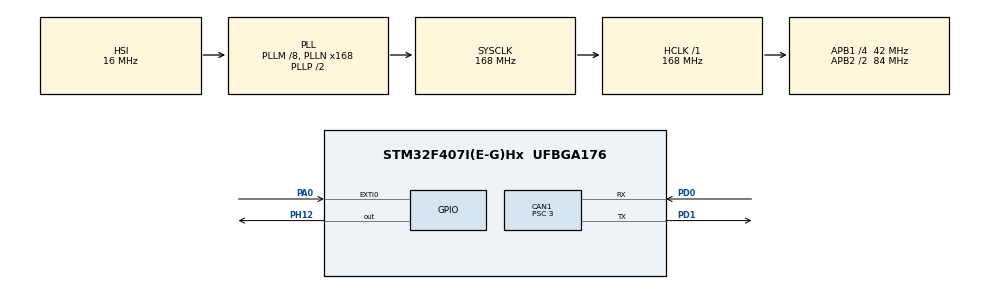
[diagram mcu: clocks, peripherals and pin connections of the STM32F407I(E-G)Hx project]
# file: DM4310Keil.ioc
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CAN1.BS1=CAN_BS1_10TQ
CAN1.BS2=CAN_BS2_3TQ
CAN1.CalculateBaudRate=1000000
CAN1.CalculateTimeBit=1000
CAN1.CalculateTimeQuantum=71.42857142857143
CAN1.Prescaler=3
Mcu.Family=STM32F4
Mcu.Name=STM32F407I(E-G)Hx
Mcu.Package=UFBGA176
NVIC.CAN1_RX0_IRQn=true\:0\:0\:false\:false\:true\:true\:true\:true
NVIC.CAN1_RX1_IRQn=true\:0\:0\:false\:false\:true\:true\:true\:true
NVIC.CAN1_SCE_IRQn=true\:0\:0\:false\:false\:true\:true\:true\:true
NVIC.CAN1_TX_IRQn=true\:0\:0\:false\:false\:true\:true\:true\:true
NVIC.EXTI0_IRQn=true\:0\:0\:false\:false\:true\:true\:true\:true
NVIC.PriorityGroup=NVIC_PRIORITYGROUP_4
PA0-WKUP.Signal=GPXTI0
PA13.Mode=Serial_Wire
PA13.Signal=SYS_JTMS-SWDIO
PA14.Mode=Serial_Wire
PA14.Signal=SYS_JTCK-SWCLK
PC14-OSC32_IN.Mode=LSE-External-Oscillator
PC14-OSC32_IN.Signal=RCC_OSC32_IN
PC15-OSC32_OUT.Mode=LSE-External-Oscillator
PC15-OSC32_OUT.Signal=RCC_OSC32_OUT
PD0.Mode=CAN_Activate
PD0.Signal=CAN1_RX
PD1.Mode=CAN_Activate
PD1.Signal=CAN1_TX
PH0-OSC_IN.Mode=HSE-External-Oscillator
PH0-OSC_IN.Signal=RCC_OSC_IN
PH1-OSC_OUT.Mode=HSE-External-Oscillator
PH1-OSC_OUT.Signal=RCC_OSC_OUT
PH12.Signal=GPIO_Output
ProjectManager.HeapSize=0x200
ProjectManager.StackSize=0x400
ProjectManager.TargetToolchain=MDK-ARM V5.32
RCC.48MHZClocksFreq_Value=84000000
RCC.AHBFreq_Value=168000000
RCC.APB1CLKDivider=RCC_HCLK_DIV4
RCC.APB1Freq_Value=42000000
RCC.APB1TimFreq_Value=84000000
RCC.APB2CLKDivider=RCC_HCLK_DIV2
RCC.APB2Freq_Value=84000000
RCC.APB2TimFreq_Value=168000000
RCC.CortexFreq_Value=168000000
RCC.HCLKFreq_Value=168000000
RCC.HSE_VALUE=25000000
RCC.HSI_VALUE=16000000
RCC.PLLM=8
RCC.PLLN=168
RCC.SYSCLKFreq_VALUE=168000000
RCC.SYSCLKSource=RCC_SYSCLKSOURCE_PLLCLK
RCC.VCOOutputFreq_Value=336000000
board=custom

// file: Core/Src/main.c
/* USER CODE BEGIN Header */
/**
  ******************************************************************************
  * @file           : main.c
  * @brief          : Main program body
  ******************************************************************************
  * @attention
  *
  * Copyright (c) 2026 STMicroelectronics.
  * All rights reserved.
  *
  * This software is licensed under terms that can be found in the LICENSE file
  * in the root directory of this software component.
  * If no LICENSE file comes with this software, it is provided AS-IS.
  *
  ******************************************************************************
  */
/* USER CODE END Header */
#include "main.h"
#include "can.h"
#include "gpio.h"
#include "PID.h"
#include "CAN.h"

/* USER CODE BEGIN Includes */
#include "struct_typedef.h"

/* USER CODE END Includes */

/* USER CODE BEGIN PTD */
uint8_t rx_data[8];
uint8_t tx_data[8];
DM4310_Rx_Data_t DM4310_Rx_Data;
DM4310_Tx_Data_t DM4310_Tx_Data;
PID_Data pid_data_v;
PID_Data pid_data_p;

/* USER CODE END PTD */

void SystemClock_Config(void);

int main(void)
{

  /* USER CODE BEGIN 1 */
/* 手动开启 FPU */
SCB->CPACR |= ((3UL << 10*2) | (3UL << 11*2));  /* 设置 CP10 和 CP11 全访问权限 */
__DSB();
__ISB();  /* USER CODE END 1 */

  /* MCU Configuration--------------------------------------------------------*/

  /* Reset of all peripherals, Initializes the Flash interface and the Systick. */
  HAL_Init();

  /* Configure the system clock */
  SystemClock_Config();

  /* Initialize all configured peripherals */
  MX_GPIO_Init();
  MX_CAN1_Init();
  /* USER CODE BEGIN 2 */
	// 1. 配置过滤器
	CAN_Filter_Config();

// 2. 启动 CAN 外设
		HAL_CAN_Start(&hcan1);

// 3. 开启接收中断（如果需要）
	HAL_CAN_ActivateNotification(&hcan1, CAN_IT_RX_FIFO0_MSG_PENDING);
  PIDInit(&pid_data_v,0.73,0.01,0.4);
	PIDInit(&pid_data_p,15,0.01,0.01);
  PID_Changegoal(&pid_data_p,2);
  DM4310_Tx_Data_Init(&DM4310_Tx_Data,0,0,0,0,0);
  DM4310_Enable(&hcan1); // 使能 ID 为 0x01 的电机

//	DM4310_Control(&hcan1,&DM4310_Tx_Data);
  /* USER CODE END 2 */

  /* Infinite loop */
  /* USER CODE BEGIN WHILE */
  while (1)
  {
		HAL_GPIO_WritePin(GPIOH,GPIO_PIN_12,GPIO_PIN_SET);
			if(DM4310_Rx_Data.DM4310_ERR==0x08 || DM4310_Rx_Data.DM4310_ERR==0x09 || DM4310_Rx_Data.DM4310_ERR==0x0A || DM4310_Rx_Data.DM4310_ERR==0x0B || DM4310_Rx_Data.DM4310_ERR==0x0C || DM4310_Rx_Data.DM4310_ERR==0x0D || DM4310_Rx_Data.DM4310_ERR==0x0E){
					DM4310_DisEnable(&hcan1);
			}
			else{
		float v=PIDCompute(&pid_data_p,DM4310_Rx_Data.DM4310_POS);
		PID_Changegoal(&pid_data_v,v);
		DM4310_Tx_Data.DM4310_T_ff=PIDCompute(&pid_data_v,DM4310_Rx_Data.DM4310_VEL);
    DM4310_Control(&hcan1,&DM4310_Tx_Data);
		HAL_Delay(1);
			}
		/* USER CODE END WHILE */

  }
}

void SystemClock_Config(void)
{
  RCC_OscInitTypeDef RCC_OscInitStruct = {0};
  RCC_ClkInitTypeDef RCC_ClkInitStruct = {0};

  /** Configure the main internal regulator output voltage
  */
  __HAL_RCC_PWR_CLK_ENABLE();
  __HAL_PWR_VOLTAGESCALING_CONFIG(PWR_REGULATOR_VOLTAGE_SCALE1);

  /** Initializes the RCC Oscillators according to the specified parameters
  * in the RCC_OscInitTypeDef structure.
  */
  RCC_OscInitStruct.OscillatorType = RCC_OSCILLATORTYPE_HSI;
  RCC_OscInitStruct.HSIState = RCC_HSI_ON;
  RCC_OscInitStruct.HSICalibrationValue = RCC_HSICALIBRATION_DEFAULT;
  RCC_OscInitStruct.PLL.PLLState = RCC_PLL_ON;
  RCC_OscInitStruct.PLL.PLLSource = RCC_PLLSOURCE_HSI;
  RCC_OscInitStruct.PLL.PLLM = 8;
  RCC_OscInitStruct.PLL.PLLN = 168;
  RCC_OscInitStruct.PLL.PLLP = RCC_PLLP_DIV2;
  RCC_OscInitStruct.PLL.PLLQ = 4;
  if (HAL_RCC_OscConfig(&RCC_OscInitStruct) != HAL_OK)
  {
    Error_Handler();
  }

  /** Initializes the CPU, AHB and APB buses clocks
  */
  RCC_ClkInitStruct.ClockType = RCC_CLOCKTYPE_HCLK|RCC_CLOCKTYPE_SYSCLK
                              |RCC_CLOCKTYPE_PCLK1|RCC_CLOCKTYPE_PCLK2;
  RCC_ClkInitStruct.SYSCLKSource = RCC_SYSCLKSOURCE_PLLCLK;
  RCC_ClkInitStruct.AHBCLKDivider = RCC_SYSCLK_DIV1;
  RCC_ClkInitStruct.APB1CLKDivider = RCC_HCLK_DIV4;
  RCC_ClkInitStruct.APB2CLKDivider = RCC_HCLK_DIV2;

  if (HAL_RCC_ClockConfig(&RCC_ClkInitStruct, FLASH_LATENCY_5) != HAL_OK)
  {
    Error_Handler();
  }
}

void Error_Handler(void)
{
  __disable_irq();
  while (1)
  {
  }
}
